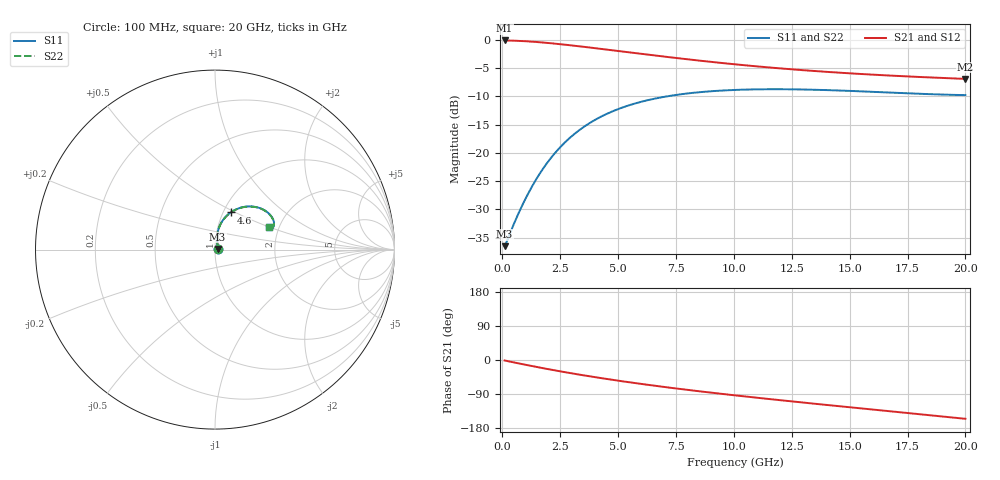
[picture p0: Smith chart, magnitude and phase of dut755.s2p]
! Touchstone file exported from HFSS 2024.1.0
!  File:  C:/UserFiles/LocalFiles/RDL_TSV_Batchsim/temp_RDL_TSV_755_1779898962.aedt
!  Generated:  12:38:06 AM May 28, 2026
!  Design:  RDL_TSV
!  Project:  temp_RDL_TSV_755_1779898962
!  Setup:  Setup1
!  Solution:  Sweep
! Variables:
!  dtsv = 7.01um
!  hbump = 3um
!  htsv = 67.49um
!  ldown = 140.48um
!  lrdl = 435.28um
!  p = 40
!  p1 = 41.44um
!  rhole = 10um
!  subl = 2162.56um
!  t = 450um
!  tdown = 3.48um
!  trdl = 4.23um
!  viad = 10um
!  wdown = 26.78um
!  wrdl = 12.47um
!  xbump = 18um
# GHz S MA R 50.000000
! Terminal data exported
! Port[1] = TM1_1_T1
! Port[2] = TM1_4_T1
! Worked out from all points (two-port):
!   200 points, 100 MHz to 20 GHz, reference 50 ohm
!   highest |S21| = -0.13 dB at 100 MHz (marker M1); lowest = -6.9 dB at 20 GHz (marker M2)
!   |S21| within 3 dB of the highest: start of sweep to 7.292 GHz
!   lowest |S11| = -36.5 dB at 100 MHz (marker M3), VSWR 1.03, Z = 51.5 + j0.402 ohm
!   |S11| at or under -10 dB: start of sweep to 7.134 GHz
!   |S22| runs from -36.5 to -8.8 dB; largest |S21 - S12| = 9.6e-15
!   S11 on the Smith chart (normalised r, x): 100 MHz: 1.03, +0.01; 4.6 GHz: 1.09, +0.47; 20 GHz: 1.77, +0.49
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0.1  0.01493 15.2  0.9854 -1.3  0.9854 -1.3  0.01493 15.2
! Gamma 0 0 0 0
! Port Impedance 50 0 50 0
0.2  0.01652 27.6  0.9846 -2.6  0.9846 -2.6  0.01652 27.6
0.6  0.0262 55.9  0.979 -7.6  0.979 -7.6  0.0262 55.9
0.9  0.03559 67.4  0.9726 -11.3  0.9726 -11.3  0.03559 67.3
1.3  0.05103 76.1  0.9613 -16.2  0.9613 -16.2  0.05102 76.0
1.7  0.06941 80.1  0.9472 -20.9  0.9472 -20.9  0.06939 80.0
2.1  0.09 81.2  0.9311 -25.5  0.9311 -25.5  0.08995 81.2
2.5  0.112 80.6  0.9136 -29.9  0.9136 -29.9  0.1119 80.5
3  0.1403 78.3  0.8905 -35.2  0.8905 -35.2  0.1402 78.2
3.5  0.1683 75.1  0.8667 -40.3  0.8667 -40.3  0.1682 75.1
4  0.1952 71.5  0.8427 -45.2  0.8427 -45.2  0.195 71.5
4.6  0.2251 67.0  0.8141 -50.9  0.8141 -50.9  0.2249 66.9
5.6  0.268 59.6  0.7681 -59.7  0.7681 -59.7  0.2677 59.5
6.8  0.3075 51.5  0.717 -69.6  0.717 -69.6  0.307 51.4
8.4  0.3417 42.3  0.6573 -81.8  0.6573 -81.8  0.3412 42.3
10.1  0.3601 34.6  0.6047 -93.6  0.6047 -93.6  0.3594 34.5
11.7  0.365 29.0  0.5645 -104.1  0.5645 -104.1  0.3643 28.9
13.4  0.3614 24.6  0.5302 -114.8  0.5302 -114.8  0.3606 24.5
15  0.3528 22.0  0.5045 -124.7  0.5045 -124.7  0.3519 21.9
16.7  0.3413 20.7  0.4825 -135.0  0.4825 -135.0  0.3403 20.6
18.4  0.3304 21.0  0.4646 -145.4  0.4646 -145.4  0.3293 20.9
20  0.3236 22.5  0.4506 -155.2  0.4506 -155.2  0.3226 22.5
